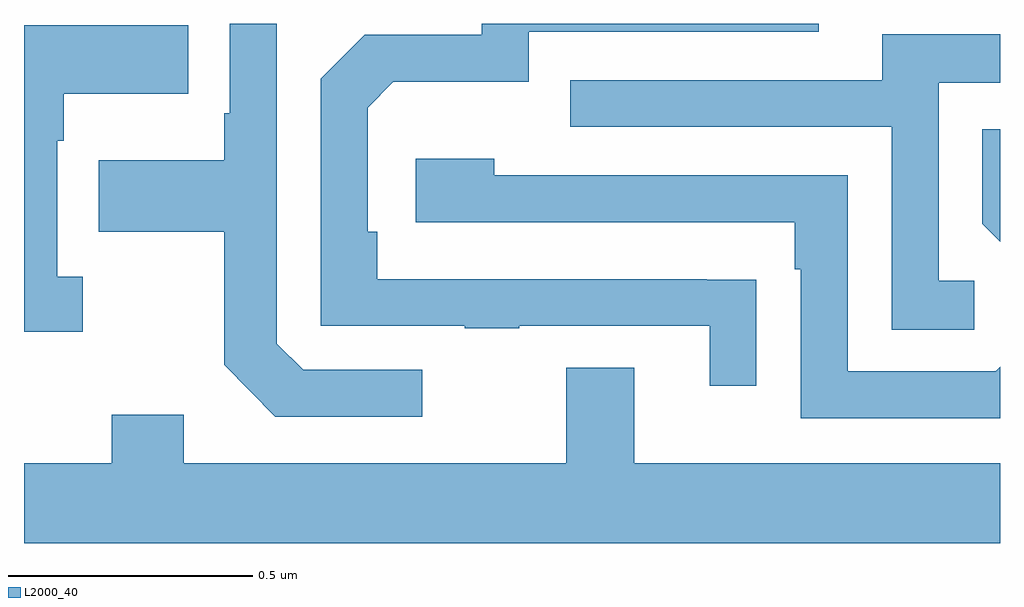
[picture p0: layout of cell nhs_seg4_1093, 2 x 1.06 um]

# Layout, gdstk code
import gdstk
lib = gdstk.Library(unit=1e-6, precision=1e-09)
def P(c, l, *ps):  # polygons
    for p in ps: c.add(gdstk.Polygon(p, *l))
L2000_40 = (2000, 40)

nhs_seg4_1093 = lib.new_cell('nhs_seg4_1093')
P(nhs_seg4_1093, L2000_40, [(125.501,781.376),(125.399,781.376),(125.399,781.377),(124.724,781.377),(124.724,781.474),(124.704,781.474),(124.704,781.728),(124.757,781.781),(125.034,781.781),(125.034,781.884),(125.629,781.884),(125.629,781.9),(124.938,781.9),(124.938,781.878),(124.698,781.878),(124.608,781.788),(124.608,781.281),(124.903,781.281),(124.903,781.276),(125.015,781.276),(125.015,781.281),(125.405,781.281),(125.405,781.158),(125.501,781.158)],
  [(124.816,781.191),(124.572,781.191),(124.518,781.245),(124.518,781.9),(124.422,781.9),(124.422,781.717),(124.41,781.717),(124.41,781.621),(124.153,781.621),(124.153,781.474),(124.41,781.474),(124.41,781.201),(124.515,781.095),(124.816,781.095)],
  [(124.12,781.382),(124.068,781.382),(124.068,781.661),(124.081,781.661),(124.081,781.757),(124.337,781.757),(124.337,781.897),(124,781.897),(124,781.269),(124.12,781.269)],
  [(125.947,781.374),(125.874,781.374),(125.874,781.779),(126,781.779),(126,781.879),(125.759,781.879),(125.759,781.785),(125.119,781.785),(125.119,781.689),(125.778,781.689),(125.778,781.273),(125.947,781.273)],
  [(126,781.684),(125.964,781.684),(125.964,781.49),(126,781.454)],
  [(126,781.197),(125.991,781.188),(125.688,781.188),(125.688,781.59),(124.964,781.59),(124.964,781.624),(124.803,781.624),(124.803,781.494),(125.579,781.494),(125.579,781.397),(125.592,781.397),(125.592,781.092),(126,781.092)],
  [(126,781),(125.251,781),(125.251,781.195),(125.111,781.195),(125.111,781),(124.327,781),(124.327,781.099),(124.18,781.099),(124.18,781),(124,781),(124,780.836),(126,780.836)])

lib.write_gds('nhs_seg4_1093.gds')
